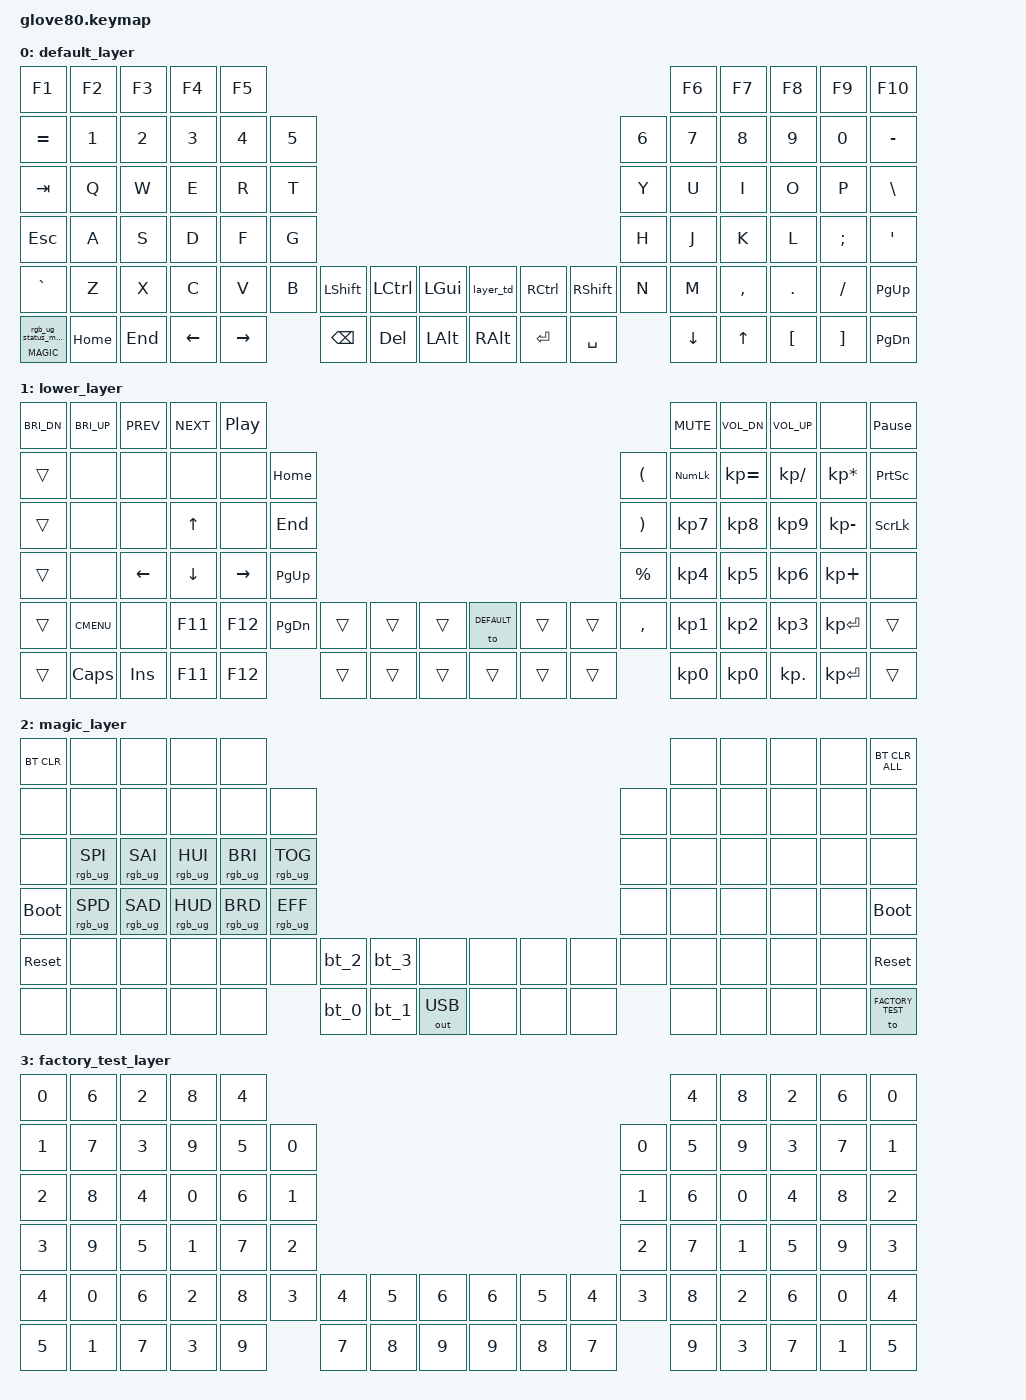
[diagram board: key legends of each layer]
/*
 * Copyright (c) 2020 The ZMK Contributors
 *
 * SPDX-License-Identifier: MIT
 */

#include <behaviors.dtsi>
#include <dt-bindings/zmk/keys.h>
#include <dt-bindings/zmk/bt.h>
#include <dt-bindings/zmk/ext_power.h>
#include <dt-bindings/zmk/outputs.h>
#include <dt-bindings/zmk/rgb.h>
#include <dt-bindings/zmk/rgb_colors.h>

#define HYPER LC(LS(LG(LALT)))

// layers
#define DEFAULT 0
#define LOWER 1
#define MAGIC 2
#define FACTORY_TEST 3

// colours
#define DIM_WHITE 0x333333

/* Empty underglow layer definition (for copy-paste)
        mylayer {
            bindings = <
                &ug ___ &ug ___ &ug ___ &ug ___ &ug ___                                                                  &ug ___ &ug ___ &ug ___ &ug ___ &ug ___
                &ug ___ &ug ___ &ug ___ &ug ___ &ug ___ &ug ___                                                  &ug ___ &ug ___ &ug ___ &ug ___ &ug ___ &ug ___
                &ug ___ &ug ___ &ug ___ &ug ___ &ug ___ &ug ___                                                  &ug ___ &ug ___ &ug ___ &ug ___ &ug ___ &ug ___
                &ug ___ &ug ___ &ug ___ &ug ___ &ug ___ &ug ___                                                  &ug ___ &ug ___ &ug ___ &ug ___ &ug ___ &ug ___
                &ug ___ &ug ___ &ug ___ &ug ___ &ug ___ &ug ___ &ug ___ &ug ___ &ug ___  &ug ___ &ug ___ &ug ___ &ug ___ &ug ___ &ug ___ &ug ___ &ug ___ &ug ___
                &ug ___ &ug ___ &ug ___ &ug ___ &ug ___         &ug ___ &ug ___ &ug ___  &ug ___ &ug ___ &ug ___         &ug ___ &ug ___ &ug ___ &ug ___ &ug ___
                >;
            layer-id = <LAYER_Name>;
        };
*/

/ {
    underglow-layer {
        compatible  = "zmk,underglow-layer";

        lower {
            bindings = <
    &ug WHITE  &ug WHITE  &ug PURPLE &ug PURPLE &ug PURPLE                                                                                 &ug RED                 &ug BLUE   &ug BLUE   &ug ___    &ug ORANGE
    &ug ___    &ug ___    &ug ___    &ug ___    &ug ___    &ug TEAL                                                             &ug ORANGE &ug_nl DIM_WHITE WHITE  &ug ORANGE &ug ORANGE &ug ORANGE &ug ORANGE
    &ug ___    &ug ___    &ug ___    &ug BLUE   &ug ___    &ug TEAL                                                             &ug ORANGE &ug WHITE               &ug WHITE  &ug WHITE  &ug ORANGE &ug ORANGE
    &ug ___    &ug ___    &ug BLUE   &ug BLUE   &ug BLUE   &ug TEAL                                                             &ug ORANGE &ug WHITE               &ug WHITE  &ug WHITE  &ug ORANGE &ug ___
    &ug ___    &ug ORANGE &ug ___    &ug WHITE  &ug WHITE  &ug TEAL &ug ___ &ug ___ &ug GREEN           &ug ___ &ug ___ &ug ___ &ug ORANGE &ug WHITE               &ug WHITE  &ug WHITE  &ug GREEN  &ug ___
    &ug ___    &ug ORANGE &ug ORANGE &ug WHITE  &ug WHITE           &ug ___ &ug ___ &ug ___             &ug ___ &ug ___ &ug ___            &ug WHITE               &ug WHITE  &ug ORANGE &ug GREEN  &ug ___
                >;
            layer-id = <LOWER>;
        };
    };
};

/ {
    behaviors {
        // For the "layer" key, it'd nice to be able to use it as either a shift or a toggle.
        // Configure it as a tap dance, so the first tap (or hold) is a &mo and the second tap is a &to
        layer_td: tap_dance_0 {
            compatible = "zmk,behavior-tap-dance";
            #binding-cells = <0>;
            tapping-term-ms = <200>;
            bindings = <&mo LOWER>, <&to LOWER>;
        };

        magic: magic_hold_tap {
            compatible = "zmk,behavior-hold-tap";
            #binding-cells = <2>;
            flavor = "tap-preferred";
            tapping-term-ms = <200>;
            bindings = <&mo>, <&rgb_ug_status_macro>;
        };
    };

    macros {
        rgb_ug_status_macro: rgb_ug_status_macro_0 {
            compatible = "zmk,behavior-macro";
            #binding-cells = <0>;
            bindings
                = <&rgb_ug RGB_STATUS>;
        };

        bt_0: bt_profile_macro_0 {
            compatible = "zmk,behavior-macro";
            #binding-cells = <0>;
            bindings
                = <&out OUT_BLE>,
                  <&bt BT_SEL 0>;
        };

        bt_1: bt_profile_macro_1 {
            compatible = "zmk,behavior-macro";
            #binding-cells = <0>;
            bindings
                = <&out OUT_BLE>,
                  <&bt BT_SEL 1>;
        };

        bt_2: bt_profile_macro_2 {
            compatible = "zmk,behavior-macro";
            #binding-cells = <0>;
            bindings
                = <&out OUT_BLE>,
                  <&bt BT_SEL 2>;
        };

        bt_3: bt_profile_macro_3 {
            compatible = "zmk,behavior-macro";
            #binding-cells = <0>;
            bindings
                = <&out OUT_BLE>,
                  <&bt BT_SEL 3>;
        };
    };

    keymap {
        compatible = "zmk,keymap";

        default_layer {
            bindings = <
//    ┌────────────────┬──────┬─────┬──────┬──────┐                                                                  ┌──────┬────┬────┬────┬──────┐
//    │       f1       │  f2  │ f3  │  f4  │  f5  │                                                                  │  f6  │ f7 │ f8 │ f9 │ f10  │
//    ├────────────────┼──────┼─────┼──────┼──────┼───┐                                                          ┌───┼──────┼────┼────┼────┼──────┤
//    │       =        │  1   │  2  │  3   │  4   │ 5 │                                                          │ 6 │  7   │ 8  │ 9  │ 0  │  -   │
//    ├────────────────┼──────┼─────┼──────┼──────┼───┤                                                          ├───┼──────┼────┼────┼────┼──────┤
//    │      tab       │  Q   │  W  │  E   │  R   │ T │                                                          │ Y │  U   │ I  │ O  │ P  │  \   │
//    ├────────────────┼──────┼─────┼──────┼──────┼───┤                                                          ├───┼──────┼────┼────┼────┼──────┤
//    │      esc       │  A   │  S  │  D   │  F   │ G │                                                          │ H │  J   │ K  │ L  │ ;  │  '   │
//    ├────────────────┼──────┼─────┼──────┼──────┼───┤   ┌──────┬──────┬──────┐   ┌───────────┬──────┬──────┐   ├───┼──────┼────┼────┼────┼──────┤
//    │       `        │  Z   │  X  │  C   │  V   │ B │   │ lsft │ lctl │ lgui │   │ &layer_td │ rctl │ rsft │   │ N │  M   │ ,  │ .  │ /  │ pgup │
//    ├────────────────┼──────┼─────┼──────┼──────┼───┘   ├──────┼──────┼──────┤   ├───────────┼──────┼──────┤   └───┼──────┼────┼────┼────┼──────┤
//    │ &magic MAGIC 0 │ home │ end │ left │ rght │       │ bspc │ del  │ lalt │   │   ralt    │ ent  │ spc  │       │ down │ up │ [  │ ]  │ pgdn │
//    └────────────────┴──────┴─────┴──────┴──────┘       └──────┴──────┴──────┘   └───────────┴──────┴──────┘       └──────┴────┴────┴────┴──────┘
  &kp F1           &kp F2     &kp F3    &kp F4     &kp F5                                                                                                           &kp F6     &kp F7      &kp F8     &kp F9     &kp F10
  &kp EQUAL        &kp N1     &kp N2    &kp N3     &kp N4      &kp N5                                                                                      &kp N6   &kp N7     &kp N8      &kp N9     &kp N0     &kp MINUS
  &kp TAB          &kp Q      &kp W     &kp E      &kp R       &kp T                                                                                       &kp Y    &kp U      &kp I       &kp O      &kp P      &kp BSLH
  &kp ESC          &kp A      &kp S     &kp D      &kp F       &kp G                                                                                       &kp H    &kp J      &kp K       &kp L      &kp SEMI   &kp SQT
  &kp GRAVE        &kp Z      &kp X     &kp C      &kp V       &kp B        &kp LSHFT   &kp LCTRL   &kp LGUI       &layer_td   &kp RCTRL   &kp RSHFT       &kp N    &kp M      &kp COMMA   &kp DOT    &kp FSLH   &kp PG_UP
  &magic MAGIC 0   &kp HOME   &kp END   &kp LEFT   &kp RIGHT                &kp BSPC    &kp DEL     &kp LALT       &kp RALT    &kp RET     &kp SPACE                &kp DOWN   &kp UP      &kp LBKT   &kp RBKT   &kp PG_DN
            >;
        };

        lower_layer {
            bindings = <
//    ┌──────┬──────┬──────┬──────┬──────┐                                                                ┌──────┬──────┬──────┬──────┬──────┐
//    │ bri- │ bri+ │ prev │ next │ play │                                                                │ mute │ vold │ volu │      │ paus │
//    ├──────┼──────┼──────┼──────┼──────┼──────┐                                                     ┌───┼──────┼──────┼──────┼──────┼──────┤
//    │      │      │      │      │      │ home │                                                     │ ( │ nlck │ kp_= │ kp_/ │ kp_* │ pscr │
//    ├──────┼──────┼──────┼──────┼──────┼──────┤                                                     ├───┼──────┼──────┼──────┼──────┼──────┤
//    │      │      │      │  up  │      │ end  │                                                     │ ) │  7   │  8   │  9   │ kp_- │ slck │
//    ├──────┼──────┼──────┼──────┼──────┼──────┤                                                     ├───┼──────┼──────┼──────┼──────┼──────┤
//    │      │      │ left │ down │ rght │ pgup │                                                     │ % │  4   │  5   │  6   │ kp_+ │      │
//    ├──────┼──────┼──────┼──────┼──────┼──────┤   ┌─────┬─────┬─────┐   ┌───────────┬─────┬─────┐   ├───┼──────┼──────┼──────┼──────┼──────┤
//    │      │ app  │      │ f11  │ f12  │ pgdn │   │     │     │     │   │ to DEFAU< │     │     │   │ , │  1   │  2   │  3   │ ent  │      │
//    ├──────┼──────┼──────┼──────┼──────┼──────┘   ├─────┼─────┼─────┤   ├───────────┼─────┼─────┤   └───┼──────┼──────┼──────┼──────┼──────┤
//    │      │ caps │ ins  │ f11  │ f12  │          │     │     │     │   │           │     │     │       │  0   │  0   │ kp_. │ ent  │      │
//    └──────┴──────┴──────┴──────┴──────┘          └─────┴─────┴─────┘   └───────────┴─────┴─────┘       └──────┴──────┴──────┴──────┴──────┘
  &kp C_BRI_DN   &kp C_BRI_UP   &kp C_PREV   &kp C_NEXT   &kp C_PP                                                                                                   &kp C_MUTE   &kp C_VOL_DN   &kp C_VOL_UP    &none             &kp PAUSE_BREAK
  &trans         &none          &none        &none        &none       &kp HOME                                                                           &kp LPAR    &kp KP_NUM   &kp KP_EQUAL   &kp KP_DIVIDE   &kp KP_MULTIPLY   &kp PSCRN
  &trans         &none          &none        &kp UP       &none       &kp END                                                                            &kp RPAR    &kp KP_N7    &kp KP_N8      &kp KP_N9       &kp KP_MINUS      &kp SLCK
  &trans         &none          &kp LEFT     &kp DOWN     &kp RIGHT   &kp PG_UP                                                                          &kp PRCNT   &kp KP_N4    &kp KP_N5      &kp KP_N6       &kp KP_PLUS       &none
  &trans         &kp K_CMENU    &none        &kp F11      &kp F12     &kp PG_DN       &trans   &trans   &trans       &to DEFAULT   &trans   &trans       &kp COMMA   &kp KP_N1    &kp KP_N2      &kp KP_N3       &kp KP_ENTER      &trans
  &trans         &kp CAPS       &kp INS      &kp F11      &kp F12                     &trans   &trans   &trans       &trans        &trans   &trans                   &kp KP_N0    &kp KP_N0      &kp KP_DOT      &kp KP_ENTER      &trans
            >;
        };

        magic_layer {
            bindings = <
//    ┌────────────┬─────────┬─────────┬─────────┬─────────┐                                                                        ┌─────┬─────┬─────┬─────┬─────────────────┐
//    │   bt_clr   │         │         │         │         │                                                                        │     │     │     │     │   bt_clr_ALL    │
//    ├────────────┼─────────┼─────────┼─────────┼─────────┼─────────┐                                                        ┌─────┼─────┼─────┼─────┼─────┼─────────────────┤
//    │            │         │         │         │         │         │                                                        │     │     │     │     │     │                 │
//    ├────────────┼─────────┼─────────┼─────────┼─────────┼─────────┤                                                        ├─────┼─────┼─────┼─────┼─────┼─────────────────┤
//    │            │ ug_ sp+ │ ug_ sa+ │ ug_ hu+ │ ug_ br+ │ ug_ tog │                                                        │     │     │     │     │     │                 │
//    ├────────────┼─────────┼─────────┼─────────┼─────────┼─────────┤                                                        ├─────┼─────┼─────┼─────┼─────┼─────────────────┤
//    │    boot    │ ug_ sp- │ ug_ sa- │ ug_ hu- │ ug_ br- │ ug_ eff │                                                        │     │     │     │     │     │      boot       │
//    ├────────────┼─────────┼─────────┼─────────┼─────────┼─────────┤   ┌───────┬───────┬──────────┐   ┌─────┬─────┬─────┐   ├─────┼─────┼─────┼─────┼─────┼─────────────────┤
//    │ &sys_reset │         │         │         │         │         │   │ &bt_2 │ &bt_3 │          │   │     │     │     │   │     │     │     │     │     │   &sys_reset    │
//    ├────────────┼─────────┼─────────┼─────────┼─────────┼─────────┘   ├───────┼───────┼──────────┤   ├─────┼─────┼─────┤   └─────┼─────┼─────┼─────┼─────┼─────────────────┤
//    │            │         │         │         │         │             │ &bt_0 │ &bt_1 │ out_ usb │   │     │     │     │         │     │     │     │     │ to FACTORY_TEST │
//    └────────────┴─────────┴─────────┴─────────┴─────────┘             └───────┴───────┴──────────┘   └─────┴─────┴─────┘         └─────┴─────┴─────┴─────┴─────────────────┘
  &bt BT_CLR    &none             &none             &none             &none                                                                                                          &none   &none   &none   &none   &bt BT_CLR_ALL
  &none         &none             &none             &none             &none             &none                                                                                &none   &none   &none   &none   &none   &none
  &none         &rgb_ug RGB_SPI   &rgb_ug RGB_SAI   &rgb_ug RGB_HUI   &rgb_ug RGB_BRI   &rgb_ug RGB_TOG                                                                      &none   &none   &none   &none   &none   &none
  &bootloader   &rgb_ug RGB_SPD   &rgb_ug RGB_SAD   &rgb_ug RGB_HUD   &rgb_ug RGB_BRD   &rgb_ug RGB_EFF                                                                      &none   &none   &none   &none   &none   &bootloader
  &sys_reset    &none             &none             &none             &none             &none                 &bt_2   &bt_3   &none              &none   &none   &none       &none   &none   &none   &none   &none   &sys_reset
  &none         &none             &none             &none             &none                                   &bt_0   &bt_1   &out OUT_USB       &none   &none   &none               &none   &none   &none   &none   &to FACTORY_TEST
            >;
        };

        factory_test_layer {
            bindings = <
//    ┌───┬───┬───┬───┬───┐                                           ┌───┬───┬───┬───┬───┐
//    │ 0 │ 6 │ 2 │ 8 │ 4 │                                           │ 4 │ 8 │ 2 │ 6 │ 0 │
//    ├───┼───┼───┼───┼───┼───┐                                   ┌───┼───┼───┼───┼───┼───┤
//    │ 1 │ 7 │ 3 │ 9 │ 5 │ 0 │                                   │ 0 │ 5 │ 9 │ 3 │ 7 │ 1 │
//    ├───┼───┼───┼───┼───┼───┤                                   ├───┼───┼───┼───┼───┼───┤
//    │ 2 │ 8 │ 4 │ 0 │ 6 │ 1 │                                   │ 1 │ 6 │ 0 │ 4 │ 8 │ 2 │
//    ├───┼───┼───┼───┼───┼───┤                                   ├───┼───┼───┼───┼───┼───┤
//    │ 3 │ 9 │ 5 │ 1 │ 7 │ 2 │                                   │ 2 │ 7 │ 1 │ 5 │ 9 │ 3 │
//    ├───┼───┼───┼───┼───┼───┤   ┌───┬───┬───┐   ┌───┬───┬───┐   ├───┼───┼───┼───┼───┼───┤
//    │ 4 │ 0 │ 6 │ 2 │ 8 │ 3 │   │ 4 │ 5 │ 6 │   │ 6 │ 5 │ 4 │   │ 3 │ 8 │ 2 │ 6 │ 0 │ 4 │
//    ├───┼───┼───┼───┼───┼───┘   ├───┼───┼───┤   ├───┼───┼───┤   └───┼───┼───┼───┼───┼───┤
//    │ 5 │ 1 │ 7 │ 3 │ 9 │       │ 7 │ 8 │ 9 │   │ 9 │ 8 │ 7 │       │ 9 │ 3 │ 7 │ 1 │ 5 │
//    └───┴───┴───┴───┴───┘       └───┴───┴───┘   └───┴───┴───┘       └───┴───┴───┴───┴───┘
  &kp N0   &kp N6   &kp N2   &kp N8   &kp N4                                                                                       &kp N4   &kp N8   &kp N2   &kp N6   &kp N0
  &kp N1   &kp N7   &kp N3   &kp N9   &kp N5   &kp N0                                                                     &kp N0   &kp N5   &kp N9   &kp N3   &kp N7   &kp N1
  &kp N2   &kp N8   &kp N4   &kp N0   &kp N6   &kp N1                                                                     &kp N1   &kp N6   &kp N0   &kp N4   &kp N8   &kp N2
  &kp N3   &kp N9   &kp N5   &kp N1   &kp N7   &kp N2                                                                     &kp N2   &kp N7   &kp N1   &kp N5   &kp N9   &kp N3
  &kp N4   &kp N0   &kp N6   &kp N2   &kp N8   &kp N3       &kp N4   &kp N5   &kp N6       &kp N6   &kp N5   &kp N4       &kp N3   &kp N8   &kp N2   &kp N6   &kp N0   &kp N4
  &kp N5   &kp N1   &kp N7   &kp N3   &kp N9                &kp N7   &kp N8   &kp N9       &kp N9   &kp N8   &kp N7                &kp N9   &kp N3   &kp N7   &kp N1   &kp N5
            >;
        };
    };
};
